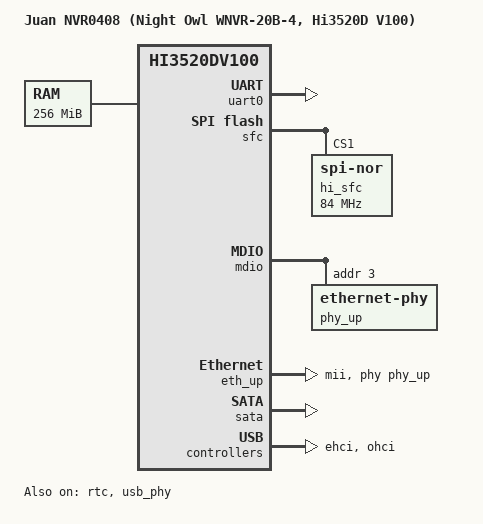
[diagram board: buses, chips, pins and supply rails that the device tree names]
// SPDX-License-Identifier: (GPL-2.0-or-later OR MIT)
/*
 * Juan NVR0408 4-channel NVR board (PCB HI3520D_V318P3_NVR0408), sold as the
 * Night Owl WNVR-20B-4: Hi3520D V100 (SC_SYSID 0x3520D100), 256 MiB DDR2 and
 * 16 MiB SPI NOR on chip select 1.
 */

/dts-v1/;
#include "hi3520dv100.dtsi"

/ {
	model = "Juan NVR0408 (Night Owl WNVR-20B-4, Hi3520D V100)";
	compatible = "juan,nvr0408", "hisilicon,hi3520dv100";

	chosen {
		stdout-path = "serial0:115200n8";
	};

	memory@80000000 {
		device_type = "memory";
		reg = <0x80000000 0x10000000>;
	};
};

&uart0 {
	status = "okay";
};

/* The alarm is wired to the interrupt controller and wakes the SoC from standby */
&rtc {
	wakeup-source;
	status = "okay";
};

/*
 * 16 MiB flash on CS1, nothing on CS0. It takes the label the bootloader
 * names in mtdparts=, and no fixed partitions are given: the bootloader's
 * command line is the layout.
 */
&sfc {
	status = "okay";
	/*
	 * 112.5 MHz, so the SPI clock is 56.25 MHz: above the 50 MHz of the
	 * plain 03h read of the MX25L12835F. spi-nor reads with the fast read
	 * opcodes of the SFDP tables (see the bus widths of the flash), keep
	 * them when changing the flash or the bus widths.
	 */
	assigned-clock-parents = <&crg HI3520DV100_FIXED_112P5M>;

	flash@1 {
		compatible = "jedec,spi-nor";
		reg = <1>;
		label = "hi_sfc";
		/*
		 * The rating of the 1-2-2 read of the MX25L12835F, the slowest
		 * fast read the node selects. The controller cannot divide its
		 * clock, so this does not lower the 56.25 MHz SPI clock: the
		 * driver only warns if that clock ever exceeds it.
		 */
		spi-max-frequency = <84000000>;
		spi-rx-bus-width = <2>;
		spi-tx-bus-width = <2>;

		/*
		 * The factory data page (MAC address, sticker ID, Wi-Fi credentials)
		 * is at 0x7b000. The cell is described on the flash itself, at its
		 * absolute offset, and not on a partition: the whole flash stays one
		 * MTD device whatever partitions the bootloader's "mtdparts=" gives
		 * (CONFIG_MTD_PARTITIONED_MASTER), so the cell exists with or without
		 * a command line layout. Linux does not write the page.
		 */
		nvmem-layout {
			compatible = "fixed-layout";
			#address-cells = <1>;
			#size-cells = <1>;

			eth_mac: mac-address@7b4a8 {
				reg = <0x7b4a8 6>;
			};
		};
	};
};

/*
 * The RJ45 is on the up port through the SoC's internal PHY, in MII. The
 * PHY's address is not strapped: the MDIO driver writes this one into its
 * control register.
 */
&mdio {
	status = "okay";

	phy_up: ethernet-phy@3 {
		reg = <3>;
	};
};

&eth_up {
	/* A "local-mac-address" from the bootloader wins over the cell */
	nvmem-cells = <&eth_mac>;
	nvmem-cell-names = "mac-address";
	phy-handle = <&phy_up>;
	phy-mode = "mii";
	status = "okay";
};

&sata {
	status = "okay";
};

/* SMSC USB2514 hub and RTL8188EUS behind the EHCI, OHCI is the companion */
&ehci {
	status = "okay";
};

&ohci {
	status = "okay";
};

&usb_phy {
	status = "okay";
};
